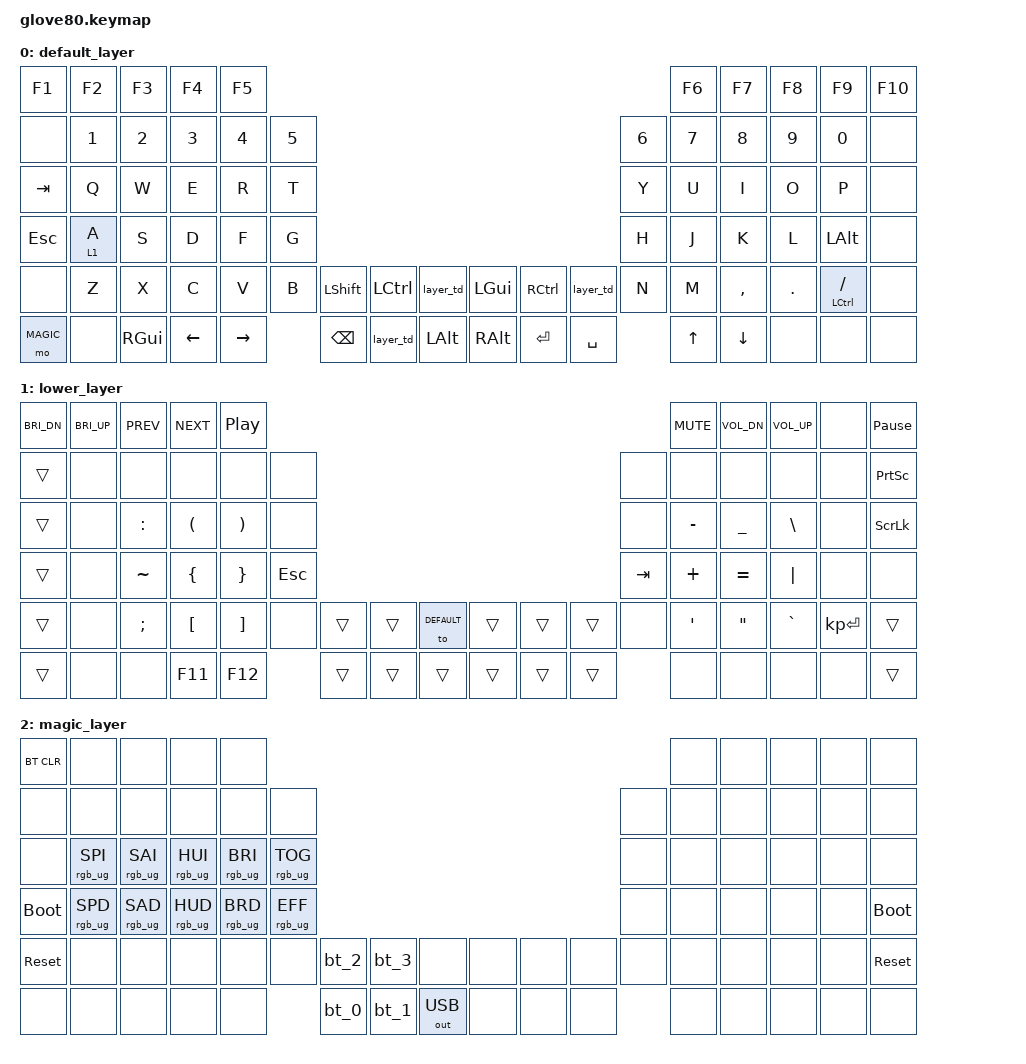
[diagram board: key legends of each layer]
/*
 * Copyright (c) 2020 The ZMK Contributors
 *
 * SPDX-License-Identifier: MIT
 */

#include <behaviors.dtsi>
#include <dt-bindings/zmk/keys.h>
#include <dt-bindings/zmk/bt.h>
#include <dt-bindings/zmk/ext_power.h>
#include <dt-bindings/zmk/outputs.h>
#include <dt-bindings/zmk/rgb.h>

// layers
#define DEFAULT 0
#define LOWER 1
#define MAGIC 2

/ {
    behaviors {
        // For the "layer" key, it'd nice to be able to use it as either a shift or a toggle.
        // Configure it as a tap dance, so the first tap (or hold) is a &mo and the second tap is a &to
        layer_td: tap_dance_0 {
            compatible = "zmk,behavior-tap-dance";
            #binding-cells = <0>;
            tapping-term-ms = <200>;
            bindings = <&mo LOWER>, <&to LOWER>;
        };
    };

    macros {
        bt_0: bt_profile_macro_0 {
            compatible = "zmk,behavior-macro";
            #binding-cells = <0>;
            bindings
                = <&out OUT_BLE>,
                  <&bt BT_SEL 0>;
        };

        bt_1: bt_profile_macro_1 {
            compatible = "zmk,behavior-macro";
            #binding-cells = <0>;
            bindings
                = <&out OUT_BLE>,
                  <&bt BT_SEL 1>;
        };

        bt_2: bt_profile_macro_2 {
            compatible = "zmk,behavior-macro";
            #binding-cells = <0>;
            bindings
                = <&out OUT_BLE>,
                  <&bt BT_SEL 2>;
        };

        bt_3: bt_profile_macro_3 {
            compatible = "zmk,behavior-macro";
            #binding-cells = <0>;
            bindings
                = <&out OUT_BLE>,
                  <&bt BT_SEL 3>;
        };
    };

    keymap {
        compatible = "zmk,keymap";

        default_layer {
            // ---------------------------------------------------------------------------------------------------------------------------------
            // |  F1   |  F2 |  F3 |  F4  |  F5  |                                                               |  F6   |  F7   |  F8  |   F9  |  F10 |
            // |  =    |  1  |  2  |  3   |  4   |  5   |                                                 |  6   |   7   |   8   |  9   |   0   |   -  |
            // |  TAB  |  Q  |  W  |  E   |  R   |  T   |                                                 |  Y   |   U   |   I   |  O   |   P   |   \  |
            // |  ESC  |  A  |  S  |  D   |  F   |  G   |                                                 |  H   |   J   |   K   |  L   |   ;   |   '  |
            // |   `   |  Z  |  X  |  C   |  V   |  B   | LSHFT | LCTRL | LOWER | | LGUI  | RCTRL | RSHFT |  N   |   M   |   ,   |  .   |   /   | PGUP |
            // | MAGIC | HOME| END | LEFT | RIGHT|      | BSPC  | DEL   | LALT  | | RALT  | RET   | SPACE |      |  UP   | DOWN  |  [   |   ]   | PGDN |

            bindings = <
            &kp F1         &kp F2        &kp F3      &kp F4      &kp F5                                                                                         &kp F6  &kp F7      &kp F8      &kp F9            &kp F10
            &none          &kp N1        &kp N2      &kp N3      &kp N4      &kp N5                                                                      &kp N6 &kp N7  &kp N8      &kp N9      &kp N0            &none
            &kp TAB        &kp Q         &kp W       &kp E       &kp R       &kp T                                                                       &kp Y  &kp U   &kp I       &kp O       &kp P             &none
            &kp ESC        &lt 1 A       &kp S       &kp D       &kp F       &kp G                                                                       &kp H  &kp J   &kp K       &kp L       &kp LALT     &none
            &none          &kp Z         &kp X       &kp C       &kp V       &kp B   &kp LSHFT   &kp LCTRL   &layer_td  &kp LGUI  &kp RCTRL &layer_td    &kp N  &kp M   &kp COMMA   &kp DOT     &mt LCTRL SLASH   &none 
            &mo MAGIC      &none         &kp RGUI    &kp LEFT    &kp RIGHT           &kp BSPC    &layer_td   &kp LALT   &kp RALT  &kp RET   &kp SPACE           &kp UP  &kp DOWN    &none       &none             &none 
            >;
        };

        lower_layer {
            bindings = <
            &kp C_BRI_DN      &kp C_BRI_UP        &kp C_PREV      &kp C_NEXT      &kp C_PP                                                                                                        &kp C_MUTE   &kp C_VOL_DN &kp C_VOL_UP  &none           &kp PAUSE_BREAK
            &trans            &none               &none           &none           &none        &none                                                                                 &none        &none        &none        &none         &none           &kp PSCRN
            &trans            &none               &kp COLON       &kp LPAR        &kp RPAR     &none                                                                                 &none        &kp MINUS    &kp UNDER    &kp BSLH      &none           &kp SLCK
            &trans            &none               &kp TILDE       &kp LBRC        &kp RBRC     &kp ESC                                                                               &kp TAB      &kp PLUS     &kp EQUAL    &kp PIPE      &none           &none
            &trans            &none               &kp SEMI        &kp LBKT        &kp RBKT     &none           &trans      &trans      &to DEFAULT &trans      &trans      &trans    &none        &kp SQT      &kp DQT      &kp GRAVE     &kp KP_ENTER    &trans
            &trans            &none               &none           &kp F11         &kp F12                      &trans      &trans      &trans      &trans      &trans      &trans                 &none        &none        &none         &none           &trans
            >;
        };

        magic_layer {
            bindings = <
            &bt BT_CLR        &none               &none           &none           &none                                                                                                           &none      &none      &none      &none      &none
            &none             &none               &none           &none           &none           &none                                                                                &none      &none      &none      &none      &none      &none
            &none             &rgb_ug RGB_SPI     &rgb_ug RGB_SAI &rgb_ug RGB_HUI &rgb_ug RGB_BRI &rgb_ug RGB_TOG                                                                      &none      &none      &none      &none      &none      &none
            &bootloader       &rgb_ug RGB_SPD     &rgb_ug RGB_SAD &rgb_ug RGB_HUD &rgb_ug RGB_BRD &rgb_ug RGB_EFF                                                                      &none      &none      &none      &none      &none      &bootloader
            &sys_reset        &none               &none           &none           &none           &none           &bt_2     &bt_3     &none            &none     &none     &none       &none      &none      &none      &none      &none      &sys_reset
            &none             &none               &none           &none           &none                           &bt_0     &bt_1     &out OUT_USB     &none     &none     &none                  &none      &none      &none      &none      &none
            >;
        };
    };
};
